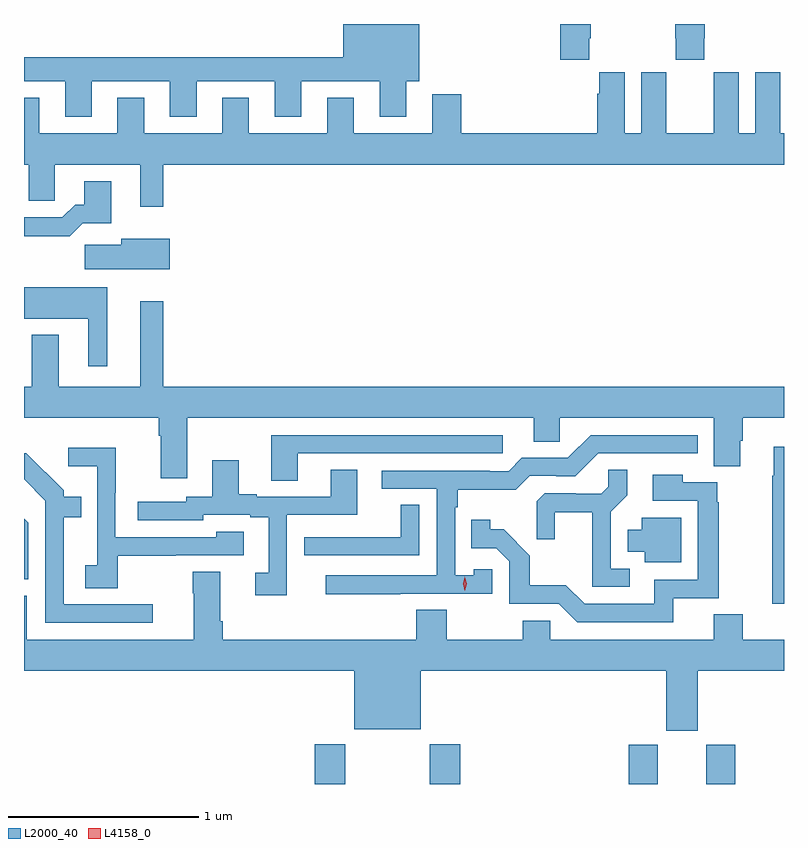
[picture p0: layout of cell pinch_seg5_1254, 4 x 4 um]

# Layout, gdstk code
import gdstk
lib = gdstk.Library(unit=1e-6, precision=1e-09)
def R(c, l, rs):  # rectangles x0, y0, x1, y1
    for r in rs: c.add(gdstk.rectangle(r[:2], r[2:], *l))
def P(c, l, *ps):  # polygons
    for p in ps: c.add(gdstk.Polygon(p, *l))
L2000_40 = (2000, 40)
L4158_0 = (4158, 0)

pinch_seg5_1254 = lib.new_cell('pinch_seg5_1254')
R(pinch_seg5_1254, L2000_40, [(449.981,848.172,450.141,848.38), (450.586,848.172,450.746,848.38), (451.634,848.172,451.786,848.379), (452.042,848.172,452.195,848.379)])
P(pinch_seg5_1254, L2000_40, [(452.031,852.097),(452.034,852.097),(452.034,852.172),(451.879,852.172),(451.879,852.097),(451.881,852.097),(451.881,851.985),(452.031,851.985)],
  [(451.427,852.097),(451.434,852.097),(451.434,852.172),(451.274,852.172),(451.274,851.985),(451.427,851.985)],
  [(448.807,851.87),(449.219,851.87),(449.219,851.685),(449.359,851.685),(449.359,851.87),(449.771,851.87),(449.771,851.685),(449.911,851.685),(449.911,851.87),(450.323,851.87),(450.323,851.685),(450.463,851.685),(450.463,851.87),(450.532,851.87),(450.532,852.172),(450.131,852.172),(450.131,851.998),(448.451,851.998),(448.451,851.87),(448.667,851.87),(448.667,851.685),(448.807,851.685)],
  [(452.451,851.596),(452.431,851.596),(452.431,851.804),(452.43,851.804),(452.43,851.917),(452.3,851.917),(452.3,851.596),(452.212,851.596),(452.212,851.917),(452.082,851.917),(452.082,851.804),(452.081,851.804),(452.081,851.596),(451.831,851.596),(451.831,851.804),(451.83,851.804),(451.83,851.917),(451.7,851.917),(451.7,851.596),(451.612,851.596),(451.612,851.917),(451.478,851.917),(451.478,851.804),(451.469,851.804),(451.469,851.596),(450.752,851.596),(450.752,851.803),(450.599,851.803),(450.599,851.596),(450.187,851.596),(450.187,851.785),(450.047,851.785),(450.047,851.596),(449.635,851.596),(449.635,851.785),(449.495,851.785),(449.495,851.596),(449.083,851.596),(449.083,851.785),(448.943,851.785),(448.943,851.596),(448.531,851.596),(448.531,851.785),(448.451,851.785),(448.451,851.432),(448.475,851.432),(448.475,851.242),(448.614,851.242),(448.614,851.432),(449.063,851.432),(449.063,851.211),(449.185,851.211),(449.185,851.432),(452.451,851.432)],
  [(448.76,851.123),(448.909,851.123),(448.909,851.344),(448.769,851.344),(448.769,851.221),(448.72,851.221),(448.653,851.154),(448.451,851.154),(448.451,851.054),(448.691,851.054)],
  [(449.218,851.041),(448.964,851.041),(448.964,851.009),(448.77,851.009),(448.77,850.88),(449.218,850.88)],
  [(448.888,850.786),(448.451,850.786),(448.451,850.622),(448.79,850.622),(448.79,850.371),(448.888,850.371)],
  [(449.311,850.1),(451.133,850.1),(451.133,849.973),(451.272,849.973),(451.272,850.1),(452.081,850.1),(452.081,849.844),(452.221,849.844),(452.221,849.978),(452.234,849.978),(452.234,850.1),(452.451,850.1),(452.451,850.264),(449.185,850.264),(449.185,850.714),(449.063,850.714),(449.063,850.264),(448.633,850.264),(448.633,850.537),(448.493,850.537),(448.493,850.264),(448.451,850.264),(448.451,850.1),(449.159,850.1),(449.159,850.004),(449.171,850.004),(449.171,849.78),(449.311,849.78)],
  [(449.893,849.912),(450.97,849.912),(450.97,850.008),(449.753,850.008),(449.753,849.769),(449.893,849.769)],
  [(450.431,849.174),(450.915,849.174),(450.915,849.303),(450.819,849.303),(450.819,849.271),(450.72,849.271),(450.72,849.629),(450.733,849.629),(450.733,849.722),(451.04,849.722),(451.113,849.795),(451.252,849.795),(451.252,849.792),(451.353,849.792),(451.473,849.912),(451.996,849.912),(451.996,850.008),(451.434,850.008),(451.314,849.888),(451.071,849.888),(451.002,849.819),(450.902,849.819),(450.902,849.822),(450.333,849.822),(450.333,849.726),(450.624,849.726),(450.624,849.27),(450.039,849.27),(450.039,849.172),(450.431,849.172)],
  [(452.451,849.946),(452.396,849.946),(452.396,849.795),(452.389,849.795),(452.389,849.12),(452.451,849.12)],
  [(448.945,849.373),(449.249,849.373),(449.249,849.375),(449.608,849.375),(449.608,849.499),(449.463,849.499),(449.463,849.471),(448.932,849.471),(448.932,849.704),(448.935,849.704),(448.935,849.943),(448.683,849.943),(448.683,849.845),(448.836,849.845),(448.836,849.324),(448.773,849.324),(448.773,849.202),(448.945,849.202)],
  [(449.128,849.117),(448.66,849.117),(448.66,849.576),(448.751,849.576),(448.751,849.685),(448.659,849.685),(448.659,849.717),(448.464,849.912),(448.451,849.912),(448.451,849.775),(448.563,849.663),(448.563,849.021),(449.128,849.021)],
  [(449.835,849.588),(450.205,849.588),(450.205,849.827),(450.065,849.827),(450.065,849.684),(449.677,849.684),(449.677,849.697),(449.581,849.697),(449.581,849.877),(449.441,849.877),(449.441,849.684),(449.304,849.684),(449.304,849.657),(449.049,849.657),(449.049,849.561),(449.394,849.561),(449.394,849.588),(449.642,849.588),(449.642,849.576),(449.738,849.576),(449.738,849.285),(449.667,849.285),(449.667,849.165),(449.835,849.165)],
  [(451.639,849.306),(451.539,849.306),(451.539,849.605),(451.625,849.691),(451.625,849.827),(451.527,849.827),(451.527,849.736),(451.49,849.699),(451.356,849.699),(451.356,849.702),(451.191,849.702),(451.15,849.661),(451.15,849.459),(451.244,849.459),(451.244,849.602),(451.442,849.602),(451.442,849.21),(451.639,849.21)],
  [(451.868,849.15),(452.107,849.15),(452.107,849.656),(452.099,849.656),(452.099,849.759),(451.917,849.759),(451.917,849.799),(451.761,849.799),(451.761,849.663),(451.998,849.663),(451.998,849.246),(451.769,849.246),(451.769,849.12),(451.401,849.12),(451.303,849.219),(451.114,849.219),(451.114,849.374),(450.976,849.512),(450.906,849.512),(450.906,849.562),(450.805,849.562),(450.805,849.414),(450.936,849.414),(451.005,849.345),(451.005,849.12),(451.266,849.12),(451.362,849.024),(451.868,849.024)],
  [(450.531,849.641),(450.433,849.641),(450.433,849.471),(450.037,849.471),(450.037,849.47),(449.925,849.47),(449.925,849.375),(450.531,849.375)],
  [(451.909,849.574),(451.703,849.574),(451.703,849.511),(451.628,849.511),(451.628,849.395),(451.718,849.395),(451.718,849.338),(451.909,849.338)],
  [(448.473,849.547),(448.451,849.569),(448.451,849.249),(448.473,849.249)],
  [(451.996,848.768),(452.451,848.768),(452.451,848.932),(452.234,848.932),(452.234,849.065),(452.081,849.065),(452.081,848.932),(451.221,848.932),(451.221,849.03),(451.075,849.03),(451.075,848.932),(450.675,848.932),(450.675,849.089),(450.515,849.089),(450.515,848.932),(449.498,848.932),(449.498,849.028),(449.485,849.028),(449.485,849.289),(449.338,849.289),(449.338,849.176),(449.345,849.176),(449.345,848.932),(448.465,848.932),(448.465,849.164),(448.451,849.164),(448.451,848.768),(450.188,848.768),(450.188,848.459),(450.538,848.459),(450.538,848.768),(451.832,848.768),(451.832,848.451),(451.996,848.451)])
P(pinch_seg5_1254, L4158_0, [(450.772,849.189),(450.772,849.189),(450.762,849.225),(450.772,849.261),(450.772,849.262),(450.772,849.261),(450.782,849.225),(450.772,849.189)])

lib.write_gds('pinch_seg5_1254.gds')
